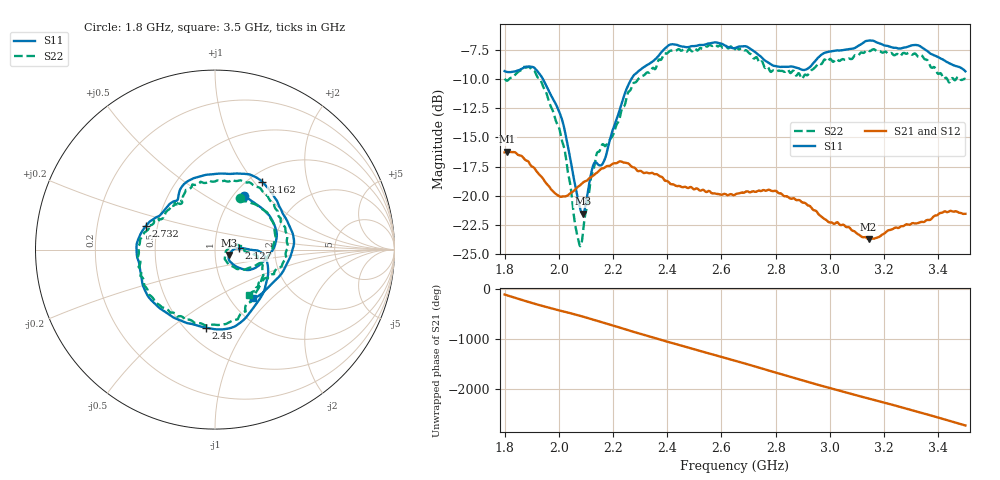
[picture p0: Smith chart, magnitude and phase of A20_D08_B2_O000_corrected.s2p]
! Created with skrf 1.9.0 (http://scikit-rf.org).
# Hz S RI R 50.0
!freq ReS11 ImS11 ReS21 ImS21 ReS12 ImS12 ReS22 ImS22
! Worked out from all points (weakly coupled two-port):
!   1601 points, 1.8 GHz to 3.5 GHz, reference 50 ohm
!   highest |S21| = -16.22 dB at 1.81 GHz (marker M1); lowest = -23.7 dB at 3.143 GHz (marker M2)
!   lowest |S11| = -21.5 dB at 2.088 GHz (marker M3), VSWR 1.18, Z = 58.4 - j3.54 ohm
!   |S11| at or under -10 dB: 1.942 GHz to 2.267 GHz (325.5 MHz wide, 15.5 % of centre)
!   |S22| runs from -24.3 to -7.0 dB; largest |S21 - S12| = 0.003
!   S11 on the Smith chart (normalised r, x): 1.8 GHz: 1.12, +0.76; 2.127 GHz: 1.31, +0.02; 2.45 GHz: 0.62, -0.67; 2.732 GHz: 0.43, +0.14; 3.162 GHz: 1.15, +1.10; 3.5 GHz: 1.26, -0.77
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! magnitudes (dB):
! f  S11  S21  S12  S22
! 1.8 GHz  -9.3  -16.3  -16.3  -10.0
! 1.81 GHz  -9.4  -16.2  -16.2  -10.1
! 1.886 GHz  -8.9  -17.0  -17.1  -9.0
! 1.938 GHz  -9.9  -18.4  -18.4  -10.4
! 2.011 GHz  -13.4  -20.1  -20.1  -15.3
! 2.066 GHz  -19.8  -19.3  -19.3  -23.1
! 2.084 GHz  -21.4  -19.0  -19.0  -24.1
! 2.088 GHz  -21.5  -18.9  -18.9  -23.4
! 2.127 GHz  -17.4  -18.3  -18.3  -17.8
! 2.167 GHz  -17.0  -17.6  -17.6  -15.7
! 2.269 GHz  -9.9  -17.5  -17.5  -10.7
! 2.367 GHz  -8.0  -18.2  -18.2  -8.4
! 2.45 GHz  -7.2  -19.2  -19.2  -7.6
! 2.65 GHz  -7.3  -19.9  -19.9  -7.4
! 2.732 GHz  -7.8  -19.6  -19.6  -8.2
! 2.934 GHz  -8.8  -21.1  -21.1  -9.2
! 3.143 GHz  -6.7  -23.7  -23.6  -7.5
! 3.162 GHz  -6.7  -23.7  -23.6  -7.4
! 3.217 GHz  -7.2  -22.9  -22.9  -7.8
! 3.326 GHz  -7.1  -22.3  -22.3  -8.1
! 3.437 GHz  -8.6  -21.4  -21.4  -10.2
! 3.5 GHz  -9.3  -21.5  -21.5  -10.0
